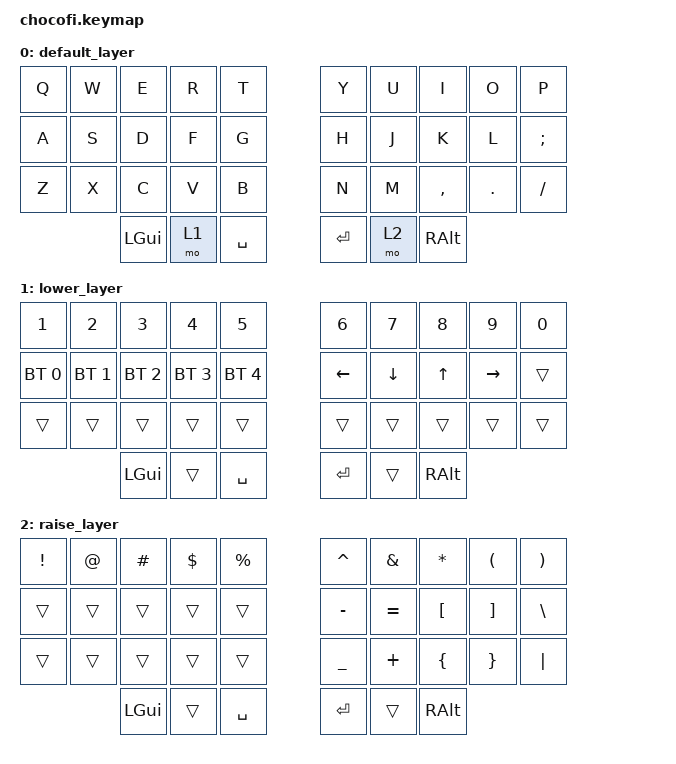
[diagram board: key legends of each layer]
/*
 * Copyright (c) 2020 The ZMK Contributors
 *
 * SPDX-License-Identifier: MIT
 */

#include <behaviors.dtsi>
#include <dt-bindings/zmk/keys.h>
#include <dt-bindings/zmk/bt.h>

#include "zmk-helpers/helper.h"
#include "zmk-helpers/key-labels/36.h"



/* Timeless homerow mods */

// https://github.com/urob/zmk-config/tree/main#timeless-homerow-mods
#define KEYS_L LT0 LT1 LT2 LT3 LT4 LM0 LM1 LM2 LM3 LM4 LB0 LB1 LB2 LB3 LB4  // left hand
#define KEYS_R RT0 RT1 RT2 RT3 RT4 RM0 RM1 RM2 RM3 RM4 RB0 RB1 RB2 RB3 RB4  // right hand
#define THUMBS LH1 LH0 RH0 RH1                                              // thumbs

ZMK_HOLD_TAP(hml,
    flavor = "balanced";
    tapping-term-ms = <280>;
    require-prior-idle-ms = <150>;
    hold-trigger-key-positions = <KEYS_R THUMBS>;
    hold-trigger-on-release;
    bindings = <&kp>, <&kp>;
)

ZMK_HOLD_TAP(hmr,
    flavor = "balanced";
    tapping-term-ms = <280>;
    require-prior-idle-ms = <150>;
    hold-trigger-key-positions = <KEYS_L THUMBS>;
    hold-trigger-on-release;
    bindings = <&kp>, <&kp>;
)


ZMK_LAYER(default_layer,
    // -----------------------------------------------------------------------------------------
    // |  Q  |  W  |  E  |  R  |  T  |   |  Y  |  U   |  I  |  O  |  P  |
    // |  A  |  S  |  D  |  F  |  G  |   |  H  |  J   |  K  |  L  |  ;  |
    // |  Z  |  X  |  C  |  V  |  B  |   |  N  |  M   |  ,  |  .  |  /  |
    //             | GUI | LWR | SPC |   | ENT | RSE  | ALT |
    // ╭─────────────┬─────────────┬─────────────┬─────────────┬─────────────╮   ╭─────────────┬─────────────┬─────────────┬─────────────┬─────────────╮
        &kp Q         &kp W         &kp E         &kp R         &kp T             &kp Y         &kp U         &kp I         &kp O         &kp P
    // ├─────────────┼─────────────┼─────────────┼─────────────┼─────────────┤   ├─────────────┼─────────────┼─────────────┼─────────────┼─────────────┤
        &kp A         &kp S         &kp D         &kp F         &kp G             &kp H         &kp J         &kp K         &kp L         &kp SEMI
    // ├─────────────┼─────────────┼─────────────┼─────────────┼─────────────┤   ├─────────────┼─────────────┼─────────────┼─────────────┼─────────────┤
        &kp Z         &kp X         &kp C         &kp V         &kp B             &kp N         &kp M         &kp COMMA     &kp DOT       &kp FSLH
    // ╰───────────────────────────┼─────────────┼─────────────┼─────────────┤   ├─────────────┼─────────────┼─────────────────────────────────────────╯
                                    &kp LGUI      &mo 1         &kp SPACE         &kp RET       &mo 2         &kp RALT
    //                             ╰─────────────┴─────────────┴─────────────╯   ╰─────────────┴─────────────┴─────────────╯
)


ZMK_LAYER(lower_layer,
    // -----------------------------------------------------------------------------------------
    // |  1  |  2  |  3  |  4  |  5  |   |  6  |  7  |  8  |  9  |  0  |
    // | BT1 | BT2 | BT3 | BT4 | BT5 |   | LFT | DWN |  UP | RGT |     |
    // |     |     |     |     |     |   |     |     |     |     |     |
    //             | GUI |     | SPC |   | ENT |     | ALT |
    // ╭─────────────┬─────────────┬─────────────┬─────────────┬─────────────╮   ╭─────────────┬─────────────┬─────────────┬─────────────┬─────────────╮
        &kp N1        &kp N2        &kp N3        &kp N4        &kp N5            &kp N6        &kp N7        &kp N8        &kp N9        &kp N0
    // ├─────────────┼─────────────┼─────────────┼─────────────┼─────────────┤   ├─────────────┼─────────────┼─────────────┼─────────────┼─────────────┤
        &bt BT_SEL 0  &bt BT_SEL 1  &bt BT_SEL 2  &bt BT_SEL 3  &bt BT_SEL 4      &kp LEFT      &kp DOWN      &kp UP        &kp RIGHT     &trans
    // ├─────────────┼─────────────┼─────────────┼─────────────┼─────────────┤   ├─────────────┼─────────────┼─────────────┼─────────────┼─────────────┤
        &trans        &trans        &trans        &trans        &trans            &trans        &trans        &trans        &trans        &trans
    // ╰───────────────────────────┼─────────────┼─────────────┼─────────────┤   ├─────────────┼─────────────┼─────────────────────────────────────────╯
                                    &kp LGUI      &trans        &kp SPACE         &kp RET       &trans        &kp RALT
    //                             ╰─────────────┴─────────────┴─────────────╯   ╰─────────────┴─────────────┴─────────────╯
)

ZMK_LAYER(raise_layer,
    // -----------------------------------------------------------------------------------------
    // |  !  |  @  |  #  |  $  |  %  |   |  ^  |  &  |  *  |  (  |  )  |
    // |     |     |     |     |     |   |  -  |  =  |  [  |  ]  |  \  |
    // |     |     |     |     |     |   |  _  |  +  |  {  |  }  | "|" |
    //             | GUI |     | SPC |   | ENT |     | ALT |
    // ╭─────────────┬─────────────┬─────────────┬─────────────┬─────────────╮   ╭─────────────┬─────────────┬─────────────┬─────────────┬─────────────╮
        &kp EXCL      &kp AT        &kp HASH      &kp DLLR      &kp PRCNT         &kp CARET     &kp AMPS      &kp ASTRK     &kp LPAR      &kp RPAR
    // ├─────────────┼─────────────┼─────────────┼─────────────┼─────────────┤   ├─────────────┼─────────────┼─────────────┼─────────────┼─────────────┤
        &trans        &trans        &trans        &trans        &trans            &kp MINUS     &kp EQUAL     &kp LBKT      &kp RBKT      &kp BSLH
    // ├─────────────┼─────────────┼─────────────┼─────────────┼─────────────┤   ├─────────────┼─────────────┼─────────────┼─────────────┼─────────────┤
        &trans        &trans        &trans        &trans        &trans            &kp UNDER     &kp PLUS      &kp LBRC      &kp RBRC      &kp PIPE
    // ╰───────────────────────────┼─────────────┼─────────────┼─────────────┤   ├─────────────┼─────────────┼─────────────────────────────────────────╯
                                    &kp LGUI      &trans        &kp SPACE         &kp RET       &trans        &kp RALT
    //                             ╰─────────────┴─────────────┴─────────────╯   ╰─────────────┴─────────────┴─────────────╯
)
